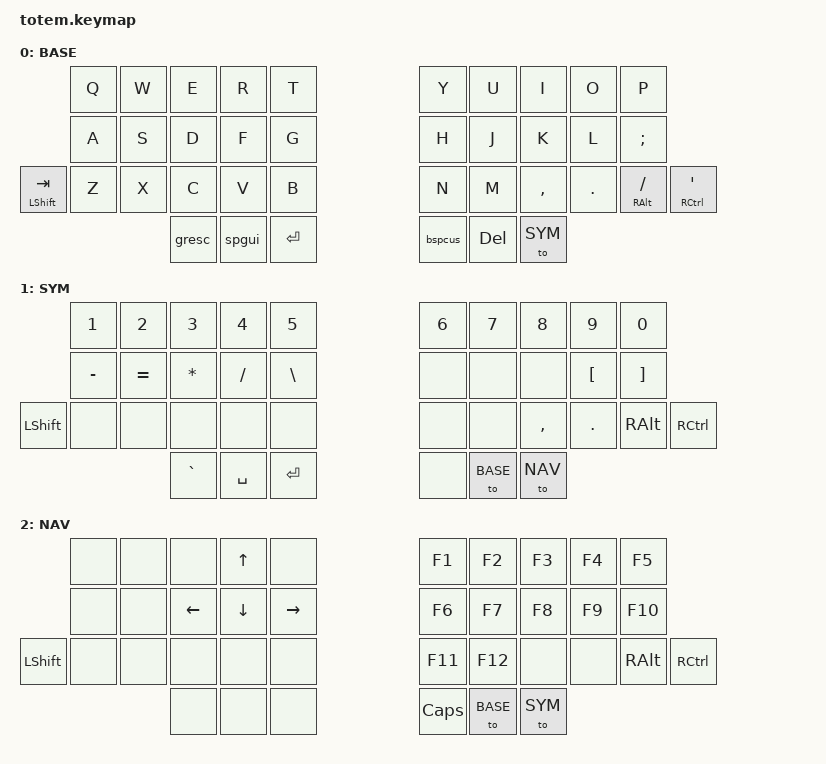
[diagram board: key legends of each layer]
/*
 * Copyright (c) 2023 The ZMK Contributors
 *
 * SPDX-License-Identifier: MIT
 */

#include <behaviors.dtsi>
#include <dt-bindings/zmk/bt.h>
#include <dt-bindings/zmk/keys.h>

#define BASE 0
#define SYM 1
#define NAV 2

/ {
    behaviors {
        spgui: space_gui {
            compatible = "zmk,behavior-mod-morph";
            #binding-cells = <0>;
            bindings = <&kp SPACE>, <&kp LGUI>;
            mods = <(MOD_LSFT)>;
        };
        bspcus: backspace_underscore {
            compatible = "zmk,behavior-mod-morph";
            #binding-cells = <0>;
            bindings = <&kp BSPC>, <&kp UNDERSCORE>;
            mods = <(MOD_LSFT)>;
        };
    };
    
    keymap {
        compatible = "zmk,keymap";

        base_layer {
            label = "BASE";
            // ---------------------------------------------------------------------------------------------------------------------------------
            //              |  qQ    |  wW    |  eE    |  rR     |   tT   |                                |  yY    |  uU    |  iI    |  oO    |  pP    | 
            //              |  aA    |  sS    |  dD    |  fF     |   gG   |                                |  hH    |  jJ    |  kK    |  lL    |   ;:   | 
            // | SHFT TAB   |  zZ    |  xX    |  cC    |  vV     |   bB   |                                |  nN    |  mM    |  ,<    |  .>    |   ALT /?   | CTRL '" |
            //                                |  ESC`  | SPC GUI |  RET   |                                | BSPC _ |  DEL   |  SYM   |
            bindings = <
                                &kp Q &kp W     &kp E   &kp R       &kp T                                    &kp Y    &kp U     &kp I     &kp O   &kp P
                                &kp A &kp S     &kp D   &kp F       &kp G                                    &kp H    &kp J     &kp K     &kp L   &kp SEMI
                &mt LSHFT TAB   &kp Z &kp X     &kp C   &kp V       &kp B                                    &kp N    &kp M     &kp COMMA &kp DOT &mt RALT FSLH &mt RCTRL APOS
                                                &gresc  &spgui      &kp RET                                  &bspcus  &kp DEL   &to SYM
            >;

        };

        sym_layer {
            label = "SYM";
            // ---------------------------------------------------------------------------------------------------------------------------------
            //         |  1!   |  2@   |  3#   |   4$   |   5%   |                                          |   6^   |   7&   |   8*   |   9(   |   0)   | 
            //         |  -_   |  =+   |  *    |   /?   |   \|   |                                          |        |        |        |   [    |   ]    | 
            // | LSHFT |       |       |       |        |        |                                          |        |        |   ,<   |   .>   |   ALT  | CTRL |
            //                         |  `~   |  SPC   |   RET  |                                          |        |  BASE  |   NAV  |
            bindings = <
                        &kp N1    &kp N2    &kp N3    &kp N4    &kp N5                                        &kp N6  &kp N7   &kp N8    &kp N9    &kp N0
                        &kp MINUS &kp EQUAL &kp STAR  &kp FSLH  &kp BSLH                                      &none   &none    &none     &kp LBKT  &kp RBKT
            &kp LSHFT   &none     &none     &none     &none     &none                                         &none   &none    &kp COMMA &kp DOT   &kp RALT &kp RCTRL
                                            &kp GRAVE &kp SPACE &kp RET                                       &none   &to BASE &to NAV
            >;

        };

        nav_layer {
            label = "NAV";
            // ---------------------------------------------------------------------------------------------------------------------------------
            //         |     |     |      |  UP   |       |                                          |  F1  |  F2   |  F3   |  F4  |  F5   | 
            //         |     |     | LEFT |  DOWN | RIGHT |                                          |  F6  |  F7   |  F8   |  F9  |  F10  | 
            // | LSHFT |     |     |      |       |       |                                          |  F11 |  F12  |       |      |  ALT  | CTRL |
            //                     |      |       |       |                                          | CAPS |  BASE |  SYM  |
            bindings = <
                        &none &none &none    &kp UP   &none                                           &kp F1   &kp F2   &kp F3  &kp F4  &kp F5
                        &none &none &kp LEFT &kp DOWN &kp RIGHT                                       &kp F6   &kp F7   &kp F8  &kp F9  &kp F10
            &kp LSHFT   &none &none &none    &none    &none                                           &kp F11  &kp F12  &none   &none   &kp RALT &kp RCTRL
                                    &none    &none    &none                                           &kp CAPS &to BASE &to SYM
            >;

        };

    };
};
